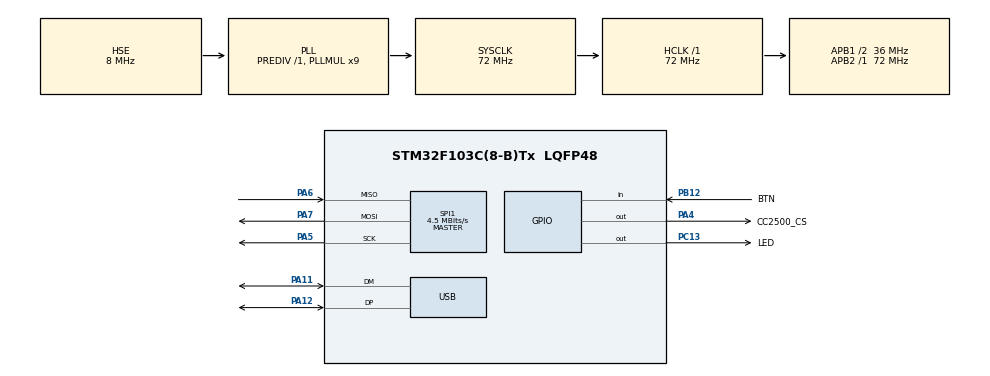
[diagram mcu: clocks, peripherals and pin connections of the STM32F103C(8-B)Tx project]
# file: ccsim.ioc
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Dma.Request0=SPI1_RX
Dma.Request1=SPI1_TX
Dma.SPI1_RX.0.Direction=DMA_PERIPH_TO_MEMORY
Dma.SPI1_RX.0.Instance=DMA1_Channel2
Dma.SPI1_RX.0.MemDataAlignment=DMA_MDATAALIGN_BYTE
Dma.SPI1_RX.0.MemInc=DMA_MINC_ENABLE
Dma.SPI1_RX.0.Mode=DMA_NORMAL
Dma.SPI1_RX.0.PeriphDataAlignment=DMA_PDATAALIGN_BYTE
Dma.SPI1_RX.0.PeriphInc=DMA_PINC_DISABLE
Dma.SPI1_RX.0.Priority=DMA_PRIORITY_LOW
Dma.SPI1_TX.1.Direction=DMA_MEMORY_TO_PERIPH
Dma.SPI1_TX.1.Instance=DMA1_Channel3
Dma.SPI1_TX.1.MemDataAlignment=DMA_MDATAALIGN_BYTE
Dma.SPI1_TX.1.MemInc=DMA_MINC_ENABLE
Dma.SPI1_TX.1.Mode=DMA_NORMAL
Dma.SPI1_TX.1.PeriphDataAlignment=DMA_PDATAALIGN_BYTE
Dma.SPI1_TX.1.PeriphInc=DMA_PINC_DISABLE
Dma.SPI1_TX.1.Priority=DMA_PRIORITY_LOW
FREERTOS.Tasks01=defaultTask,24,128,StartDefaultTask,Default,NULL,Dynamic,NULL,NULL
Mcu.Family=STM32F1
Mcu.Name=STM32F103C(8-B)Tx
Mcu.Package=LQFP48
NVIC.DMA1_Channel2_IRQn=true\:5\:0\:false\:false\:true\:true\:false\:true
NVIC.DMA1_Channel3_IRQn=true\:5\:0\:false\:false\:true\:true\:false\:true
NVIC.PriorityGroup=NVIC_PRIORITYGROUP_4
NVIC.TIM1_UP_IRQn=true\:0\:0\:false\:false\:true\:false\:false\:true
NVIC.TimeBase=TIM1_UP_IRQn
NVIC.TimeBaseIP=TIM1
NVIC.USB_LP_CAN1_RX0_IRQn=true\:5\:0\:false\:false\:true\:true\:false\:true
PA11.Mode=Device
PA11.Signal=USB_DM
PA12.Mode=Device
PA12.Signal=USB_DP
PA13.Mode=Serial_Wire
PA13.Signal=SYS_JTMS-SWDIO
PA14.Mode=Serial_Wire
PA14.Signal=SYS_JTCK-SWCLK
PA4.GPIO_Label=CC2500_CS
PA4.Signal=GPIO_Output
PA5.Mode=Full_Duplex_Master
PA5.Signal=SPI1_SCK
PA6.Mode=Full_Duplex_Master
PA6.Signal=SPI1_MISO
PA7.Mode=Full_Duplex_Master
PA7.Signal=SPI1_MOSI
PB12.GPIO_Label=BTN
PB12.GPIO_PuPd=GPIO_PULLUP
PB12.Signal=GPIO_Input
PC13-TAMPER-RTC.GPIO_Label=LED
PC13-TAMPER-RTC.PinState=GPIO_PIN_SET
PC13-TAMPER-RTC.Signal=GPIO_Output
PC14-OSC32_IN.Mode=LSE-External-Oscillator
PC14-OSC32_IN.Signal=RCC_OSC32_IN
PC15-OSC32_OUT.Mode=LSE-External-Oscillator
PC15-OSC32_OUT.Signal=RCC_OSC32_OUT
PD0-OSC_IN.Mode=HSE-External-Oscillator
PD0-OSC_IN.Signal=RCC_OSC_IN
PD1-OSC_OUT.Mode=HSE-External-Oscillator
PD1-OSC_OUT.Signal=RCC_OSC_OUT
ProjectManager.HeapSize=0x200
ProjectManager.StackSize=0x400
ProjectManager.TargetToolchain=STM32CubeIDE
RCC.AHBFreq_Value=72000000
RCC.APB1CLKDivider=RCC_HCLK_DIV2
RCC.APB1Freq_Value=36000000
RCC.APB1TimFreq_Value=72000000
RCC.APB2Freq_Value=72000000
RCC.APB2TimFreq_Value=72000000
RCC.EnbaleCSS=true
RCC.HCLKFreq_Value=72000000
RCC.PLLMUL=RCC_PLL_MUL9
RCC.SYSCLKFreq_VALUE=72000000
RCC.SYSCLKSource=RCC_SYSCLKSOURCE_PLLCLK
RCC.USBFreq_Value=48000000
RCC.USBPrescaler=RCC_USBCLKSOURCE_PLL_DIV1_5
SPI1.BaudRatePrescaler=SPI_BAUDRATEPRESCALER_16
SPI1.CLKPolarity=SPI_POLARITY_LOW
SPI1.CRCCalculation=SPI_CRCCALCULATION_DISABLE
SPI1.CalculateBaudRate=4.5 MBits/s
SPI1.Direction=SPI_DIRECTION_2LINES
SPI1.Mode=SPI_MODE_MASTER
SPI1.VirtualType=VM_MASTER
USB_DEVICE.CLASS_NAME_FS=CUSTOM_HID
USB_DEVICE.MANUFACTURER_STRING=github
USB_DEVICE.USBD_CUSTOMHID_OUTREPORT_BUF_SIZE=19
USB_DEVICE.USBD_CUSTOM_HID_REPORT_DESC_SIZE=56
USB_DEVICE.USBD_MAX_STR_DESC_SIZ=128
USB_DEVICE.VirtualMode=CustomHid
USB_DEVICE.VirtualModeFS=Custom_Hid_FS
VP_CRC_VS_CRC.Mode=CRC_Activate
VP_FREERTOS_VS_CMSIS_V2.Mode=CMSIS_V2
VP_SYS_VS_tim1.Mode=TIM1
VP_USB_DEVICE_VS_USB_DEVICE_CUSTOM_HID_FS.Mode=CUSTOM_HID_FS
board=custom

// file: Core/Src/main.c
/* USER CODE BEGIN Header */
/**
  ******************************************************************************
  * @file           : main.c
  * @brief          : Main program body
  ******************************************************************************
  * @attention
  *
  * <h2><center>&copy; Copyright (c) 2020 STMicroelectronics.
  * All rights reserved.</center></h2>
  *
  * This software component is licensed by ST under BSD 3-Clause license,
  * the "License"; You may not use this file except in compliance with the
  * License. You may obtain a copy of the License at:
  *                        opensource.org/licenses/BSD-3-Clause
  *
  ******************************************************************************
  */
/* USER CODE END Header */
#include "main.h"
#include "cmsis_os.h"
#include "usb_device.h"

/* USER CODE BEGIN Includes */

#include "usbd_customhid.h"
extern USBD_HandleTypeDef hUsbDeviceFS;
#include "frsky_rx.h"
#include "eeprom.h"

/* USER CODE END Includes */

CRC_HandleTypeDef hcrc;

SPI_HandleTypeDef hspi1;
DMA_HandleTypeDef hdma_spi1_rx;
DMA_HandleTypeDef hdma_spi1_tx;

/* Definitions for defaultTask */
osThreadId_t defaultTaskHandle;
const osThreadAttr_t defaultTask_attributes = {
  .name = "defaultTask",
  .priority = (osPriority_t) osPriorityNormal,
  .stack_size = 128 * 4
};

void SystemClock_Config(void);
static void MX_GPIO_Init(void);
static void MX_DMA_Init(void);
static void MX_SPI1_Init(void);
static void MX_CRC_Init(void);
void StartDefaultTask(void *argument);

int main(void)
{

  /* MCU Configuration--------------------------------------------------------*/

  /* Reset of all peripherals, Initializes the Flash interface and the Systick. */
  HAL_Init();

  /* Configure the system clock */
  SystemClock_Config();

  /* Initialize all configured peripherals */
  MX_GPIO_Init();
  MX_DMA_Init();
  MX_SPI1_Init();
  MX_CRC_Init();
  /* USER CODE BEGIN 2 */
  EE_Init();

  /* USER CODE END 2 */

  /* Init scheduler */
  osKernelInitialize();

  /* Create the thread(s) */
  /* creation of defaultTask */
  defaultTaskHandle = osThreadNew(StartDefaultTask, NULL, &defaultTask_attributes);

  /* Start scheduler */
  osKernelStart();

  /* We should never get here as control is now taken by the scheduler */
  /* Infinite loop */
  while (1)
  {

  }
}

void SystemClock_Config(void)
{
  RCC_OscInitTypeDef RCC_OscInitStruct = {0};
  RCC_ClkInitTypeDef RCC_ClkInitStruct = {0};
  RCC_PeriphCLKInitTypeDef PeriphClkInit = {0};

  /** Initializes the RCC Oscillators according to the specified parameters
  * in the RCC_OscInitTypeDef structure.
  */
  RCC_OscInitStruct.OscillatorType = RCC_OSCILLATORTYPE_HSE;
  RCC_OscInitStruct.HSEState = RCC_HSE_ON;
  RCC_OscInitStruct.HSEPredivValue = RCC_HSE_PREDIV_DIV1;
  RCC_OscInitStruct.HSIState = RCC_HSI_ON;
  RCC_OscInitStruct.PLL.PLLState = RCC_PLL_ON;
  RCC_OscInitStruct.PLL.PLLSource = RCC_PLLSOURCE_HSE;
  RCC_OscInitStruct.PLL.PLLMUL = RCC_PLL_MUL9;
  if (HAL_RCC_OscConfig(&RCC_OscInitStruct) != HAL_OK)
  {
    Error_Handler();
  }
  /** Initializes the CPU, AHB and APB buses clocks
  */
  RCC_ClkInitStruct.ClockType = RCC_CLOCKTYPE_HCLK|RCC_CLOCKTYPE_SYSCLK
                              |RCC_CLOCKTYPE_PCLK1|RCC_CLOCKTYPE_PCLK2;
  RCC_ClkInitStruct.SYSCLKSource = RCC_SYSCLKSOURCE_PLLCLK;
  RCC_ClkInitStruct.AHBCLKDivider = RCC_SYSCLK_DIV1;
  RCC_ClkInitStruct.APB1CLKDivider = RCC_HCLK_DIV2;
  RCC_ClkInitStruct.APB2CLKDivider = RCC_HCLK_DIV1;

  if (HAL_RCC_ClockConfig(&RCC_ClkInitStruct, FLASH_LATENCY_2) != HAL_OK)
  {
    Error_Handler();
  }
  PeriphClkInit.PeriphClockSelection = RCC_PERIPHCLK_USB;
  PeriphClkInit.UsbClockSelection = RCC_USBCLKSOURCE_PLL_DIV1_5;
  if (HAL_RCCEx_PeriphCLKConfig(&PeriphClkInit) != HAL_OK)
  {
    Error_Handler();
  }
  /** Enables the Clock Security System
  */
  HAL_RCC_EnableCSS();
}

static void MX_CRC_Init(void)
{

  hcrc.Instance = CRC;
  if (HAL_CRC_Init(&hcrc) != HAL_OK)
  {
    Error_Handler();
  }

}

static void MX_SPI1_Init(void)
{

  /* SPI1 parameter configuration*/
  hspi1.Instance = SPI1;
  hspi1.Init.Mode = SPI_MODE_MASTER;
  hspi1.Init.Direction = SPI_DIRECTION_2LINES;
  hspi1.Init.DataSize = SPI_DATASIZE_8BIT;
  hspi1.Init.CLKPolarity = SPI_POLARITY_LOW;
  hspi1.Init.CLKPhase = SPI_PHASE_1EDGE;
  hspi1.Init.NSS = SPI_NSS_SOFT;
  hspi1.Init.BaudRatePrescaler = SPI_BAUDRATEPRESCALER_16;
  hspi1.Init.FirstBit = SPI_FIRSTBIT_MSB;
  hspi1.Init.TIMode = SPI_TIMODE_DISABLE;
  hspi1.Init.CRCCalculation = SPI_CRCCALCULATION_DISABLE;
  hspi1.Init.CRCPolynomial = 10;
  if (HAL_SPI_Init(&hspi1) != HAL_OK)
  {
    Error_Handler();
  }

}

static void MX_DMA_Init(void)
{

  /* DMA controller clock enable */
  __HAL_RCC_DMA1_CLK_ENABLE();

  /* DMA interrupt init */
  /* DMA1_Channel2_IRQn interrupt configuration */
  HAL_NVIC_SetPriority(DMA1_Channel2_IRQn, 5, 0);
  HAL_NVIC_EnableIRQ(DMA1_Channel2_IRQn);
  /* DMA1_Channel3_IRQn interrupt configuration */
  HAL_NVIC_SetPriority(DMA1_Channel3_IRQn, 5, 0);
  HAL_NVIC_EnableIRQ(DMA1_Channel3_IRQn);

}

static void MX_GPIO_Init(void)
{
  GPIO_InitTypeDef GPIO_InitStruct = {0};

  /* GPIO Ports Clock Enable */
  __HAL_RCC_GPIOC_CLK_ENABLE();
  __HAL_RCC_GPIOD_CLK_ENABLE();
  __HAL_RCC_GPIOA_CLK_ENABLE();
  __HAL_RCC_GPIOB_CLK_ENABLE();

  /*Configure GPIO pin Output Level */
  HAL_GPIO_WritePin(LED_GPIO_Port, LED_Pin, GPIO_PIN_SET);

  /*Configure GPIO pin Output Level */
  HAL_GPIO_WritePin(CC2500_CS_GPIO_Port, CC2500_CS_Pin, GPIO_PIN_RESET);

  /*Configure GPIO pin : LED_Pin */
  GPIO_InitStruct.Pin = LED_Pin;
  GPIO_InitStruct.Mode = GPIO_MODE_OUTPUT_PP;
  GPIO_InitStruct.Pull = GPIO_NOPULL;
  GPIO_InitStruct.Speed = GPIO_SPEED_FREQ_LOW;
  HAL_GPIO_Init(LED_GPIO_Port, &GPIO_InitStruct);

  /*Configure GPIO pin : CC2500_CS_Pin */
  GPIO_InitStruct.Pin = CC2500_CS_Pin;
  GPIO_InitStruct.Mode = GPIO_MODE_OUTPUT_PP;
  GPIO_InitStruct.Pull = GPIO_NOPULL;
  GPIO_InitStruct.Speed = GPIO_SPEED_FREQ_LOW;
  HAL_GPIO_Init(CC2500_CS_GPIO_Port, &GPIO_InitStruct);

  /*Configure GPIO pin : BTN_Pin */
  GPIO_InitStruct.Pin = BTN_Pin;
  GPIO_InitStruct.Mode = GPIO_MODE_INPUT;
  GPIO_InitStruct.Pull = GPIO_PULLUP;
  HAL_GPIO_Init(BTN_GPIO_Port, &GPIO_InitStruct);

}

/* USER CODE BEGIN 4 */

// !! KEEP IN SYNC WITH REPORT_DESC IN CUSTOM_HID_ReportDesc_FS
#define USB_N_CHANNELS 8
//uint32_t last_ticks[0x100];
//uint8_t t;

/* USER CODE END 4 */

void StartDefaultTask(void *argument)
{
  /* init code for USB_DEVICE */
  MX_USB_DEVICE_Init();
  /* USER CODE BEGIN 5 */
  typedef struct {
	  uint32_t buttons:24;
	  uint16_t channels[USB_N_CHANNELS];
  } __attribute__((packed)) hid_report_t;
  hid_report_t hid_report = {0};
  uint8_t btn = HAL_GPIO_ReadPin(BTN_GPIO_Port, BTN_Pin);
  if (!btn) {
	  FrSky_Rx_Bind();
	  HAL_GPIO_WritePin(LED_GPIO_Port, LED_Pin, GPIO_PIN_RESET);
  }

  FrSky_Rx_init();
  uint32_t ticks = HAL_GetTick();

  /* Infinite loop */
  for(uint8_t lcnt = 0; ; ++lcnt)
  {
	  osDelayUntil(ticks);
	  uint32_t usDelay = FrSky_Rx_callback();
	  uint8_t phase = Frky_Rx_Phase();
	  uint16_t const * ch;
	  bool channelsUpdated = FrSky_Rx_Channels(&ch);
	  if (channelsUpdated) {
		  hid_report.buttons = 0;
		  for (uint8_t i = 0; i < USB_N_CHANNELS; ++i) {
			  hid_report.channels[i] = ch[i];
			  if (ch[i + USB_N_CHANNELS] > 1500) {
				  hid_report.buttons |= (1 << i);
			  }
		  }
		  USBD_CUSTOM_HID_SendReport(&hUsbDeviceFS, (uint8_t*)&hid_report, sizeof(hid_report));
	  }
	  uint32_t delayTicks = usDelay / 1000;
	  ticks += delayTicks;
	  if (phase == FRSKY_RX_DATA) {
		  uint8_t lqi = FrSky_Rx_Lqi();
		  if (lqi == 0) {
			  HAL_GPIO_WritePin(LED_GPIO_Port, LED_Pin, GPIO_PIN_SET);
		  } else {
			  if (!(lcnt & 0x1f)) {
				  if (lqi > 90 ||
						  (lqi > 70 && !(lcnt & 0x3f)) ||
						  (lqi > 50 && !(lcnt & 0x7f))) {
					  HAL_GPIO_TogglePin(LED_GPIO_Port, LED_Pin);
				  }
			  }
		  }
	  }
  }
  /* USER CODE END 5 */
}

 /**
  * @brief  Period elapsed callback in non blocking mode
  * @note   This function is called  when TIM1 interrupt took place, inside
  * HAL_TIM_IRQHandler(). It makes a direct call to HAL_IncTick() to increment
  * a global variable "uwTick" used as application time base.
  * @param  htim : TIM handle
  * @retval None
  */
void HAL_TIM_PeriodElapsedCallback(TIM_HandleTypeDef *htim)
{
  if (htim->Instance == TIM1) {
    HAL_IncTick();
  }
}

void Error_Handler(void)
{
  __disable_irq();
  while (1)
  {
  }
}

/************************ (C) COPYRIGHT STMicroelectronics *****END OF FILE****/
